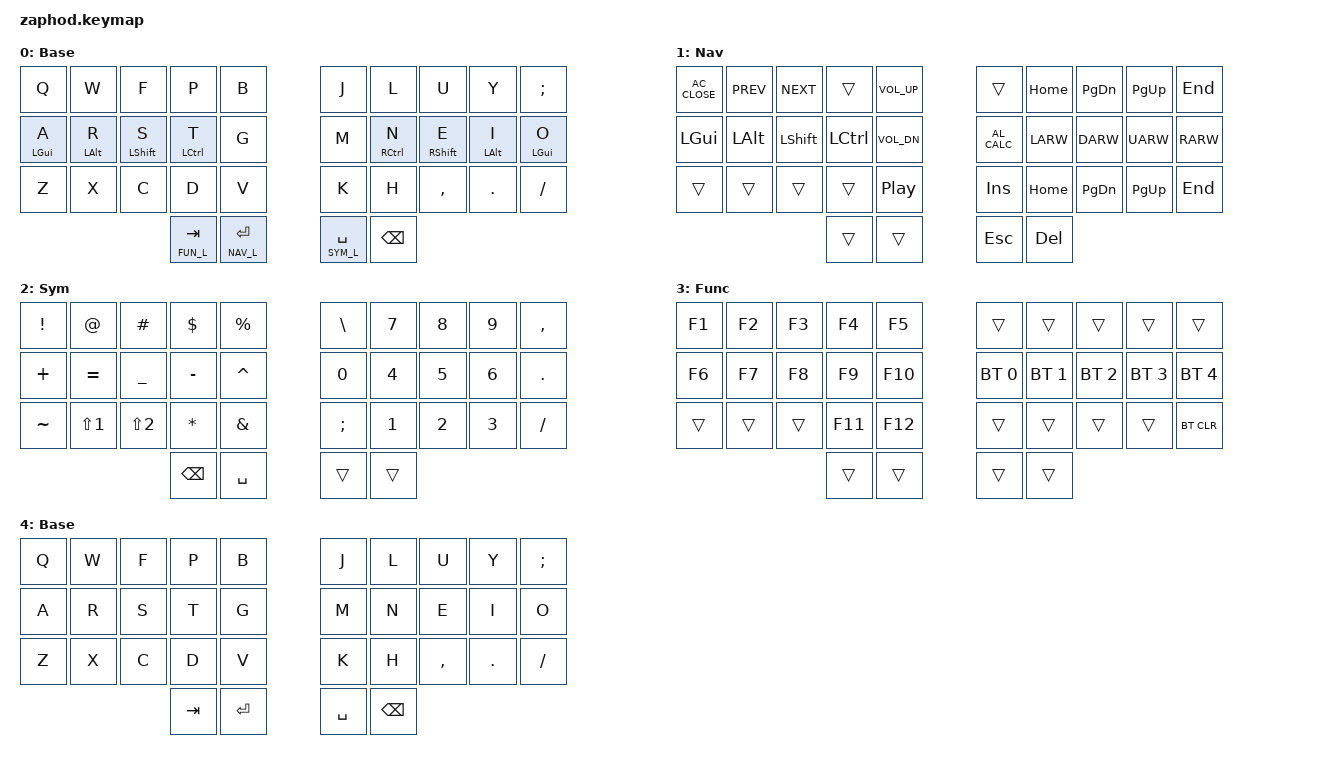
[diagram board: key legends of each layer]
/*
 * Copyright (c) 2021 Pete Johanson
 *
 * SPDX-License-Identifier: MIT
 */

#include <behaviors.dtsi>
#include <dt-bindings/zmk/keys.h>
#include <dt-bindings/zmk/bt.h>
#include <dt-bindings/zmk/outputs.h>

#define DEF_L 0
#define NAV_L 1
#define SYM_L 2
#define FUN_L 3
#define KBR_L 4

// Using layer taps on thumbs, having quick tap as well helps w/ repeating space/backspace
&lt { quick_tap_ms = <200>; };

/ {
    combos {
        compatible = "zmk,combos";

        lbrc_kp {
	    timeout-ms = <50>;
            key-positions = <10 11>;
            layers = <DEF_L>;
            bindings = <&kp LBRC>;
        };

        lbkt_kp {
	    timeout-ms = <50>;
            key-positions = <11 12>;
            layers = <DEF_L>;
            bindings = <&kp LBKT>;
        };

        lpar_kp {
	    timeout-ms = <50>;
            key-positions = <12 13>;
            layers = <DEF_L>;
            bindings = <&kp LPAR>;
        };

        rpar_kp {
	    timeout-ms = <50>;
            key-positions = <16 17>;
            layers = <DEF_L>;
            bindings = <&kp RPAR>;
        };

        rbkt_kp {
	    timeout-ms = <50>;
            key-positions = <17 18>;
            layers = <DEF_L>;
            bindings = <&kp RBKT>;
        };

        rbrc_kp {
	    timeout-ms = <50>;
            key-positions = <18 19>;
            layers = <DEF_L>;
            bindings = <&kp RBRC>;
        };

        tilde_kp {
	    timeout-ms = <50>;
            key-positions = <21 22>;
            layers = <DEF_L>;
            bindings = <&kp TILDE>;
        };

        grave_kp {
	    timeout-ms = <50>;
            key-positions = <22 23>;
            layers = <DEF_L>;
            bindings = <&kp GRAVE>;
        };

        bslh_kp {
	    timeout-ms = <50>;
            key-positions = <26 27>;
            layers = <DEF_L>;
            bindings = <&kp BSLH>;
        };

        pipe_kp {
	    timeout-ms = <50>;
            key-positions = <27 28>;
            layers = <DEF_L>;
            bindings = <&kp PIPE>;
        };

        layer_kbr {
        timeout-ms = <50>;
            key-positions = <30 33>;
            bindings = <&tog KBR_L>;
        };

    };

    behaviors {
        hm: homerow_mods {
            compatible = "zmk,behavior-hold-tap";
            label = "homerow mods";
            #binding-cells = <2>;
            tapping_term_ms = <200>;
            flavor = "tap-preferred";
            bindings = <&kp>, <&kp>;
        };
    };

    keymap {
        compatible = "zmk,keymap";

        default_layer {
            label = "Base";
            bindings = <
                &kp Q           &kp W           &kp F           &kp P           &kp B         &kp J           &kp L           &kp U           &kp Y           &kp SEMI                            
                &hm LGUI A      &hm LALT R      &hm LSHFT S     &hm LCTRL T     &kp G         &kp M           &hm RCTRL N     &hm RSHFT E     &hm LALT I      &hm LGUI O
                &kp Z           &kp X           &kp C           &kp D           &kp V         &kp K           &kp H           &kp COMMA       &kp DOT         &kp FSLH
                                                                &lt FUN_L TAB   &lt NAV_L RET &lt SYM_L SPACE &kp BKSP
            >;
        };

        nav_layer {
            label = "Nav";
            bindings = <
                &kp C_AC_CLOSE  &kp C_PREV      &kp C_NEXT      &trans          &kp C_VOL_UP  &trans          &kp HOME        &kp PG_DN       &kp PG_UP       &kp END
                &kp LGUI        &kp LALT        &kp LSHFT       &kp LCTRL       &kp C_VOL_DN  &kp C_AL_CALC   &kp LARW        &kp DARW        &kp UARW        &kp RARW
                &trans          &trans          &trans          &trans          &kp C_PP      &kp INS         &kp HOME        &kp PG_DN       &kp PG_UP       &kp END
                                                                &trans          &trans        &kp ESC         &kp DEL
            >;
        };

        sym_layer {
            label = "Sym";
            bindings = <
                &kp EXCL        &kp AT          &kp HASH        &kp DOLLAR      &kp PERCENT   &kp BACKSLASH   &kp N7          &kp N8          &kp N9          &kp COMMA
                &kp PLUS        &kp EQUAL       &kp UNDERSCORE  &kp MINUS       &kp CARET     &kp N0          &kp N4          &kp N5          &kp N6          &kp DOT
                &kp TILDE       &kp LS(N1)      &kp LS(N2)      &kp STAR        &kp AMPS      &kp SEMICOLON   &kp N1          &kp N2          &kp N3          &kp SLASH
                                                                &kp BKSP        &kp SPACE     &trans          &trans
            >;
        };

        func_layer {
            label = "Func";
            bindings = <
                &kp F1          &kp F2          &kp F3          &kp F4          &kp F5        &trans          &trans          &trans          &trans          &trans
                &kp F6          &kp F7          &kp F8          &kp F9          &kp F10       &bt BT_SEL 0    &bt BT_SEL 1    &bt BT_SEL 2    &bt BT_SEL 3    &bt BT_SEL 4
                &trans          &trans          &trans          &kp F11         &kp F12       &trans          &trans          &trans          &trans          &bt BT_CLR
                                                                &trans          &trans        &trans          &trans
            >;
        };

        keybr_layer {
            label = "Base";
            bindings = <
                &kp Q           &kp W           &kp F           &kp P           &kp B         &kp J           &kp L           &kp U           &kp Y           &kp SEMI                            
                &kp A           &kp R           &kp S           &kp T           &kp G         &kp M           &kp N           &kp E           &kp I           &kp O
                &kp Z           &kp X           &kp C           &kp D           &kp V         &kp K           &kp H           &kp COMMA       &kp DOT         &kp FSLH
                                                                &kp TAB         &kp RET       &kp SPACE       &kp BKSP
            >;
        };

    };
};

